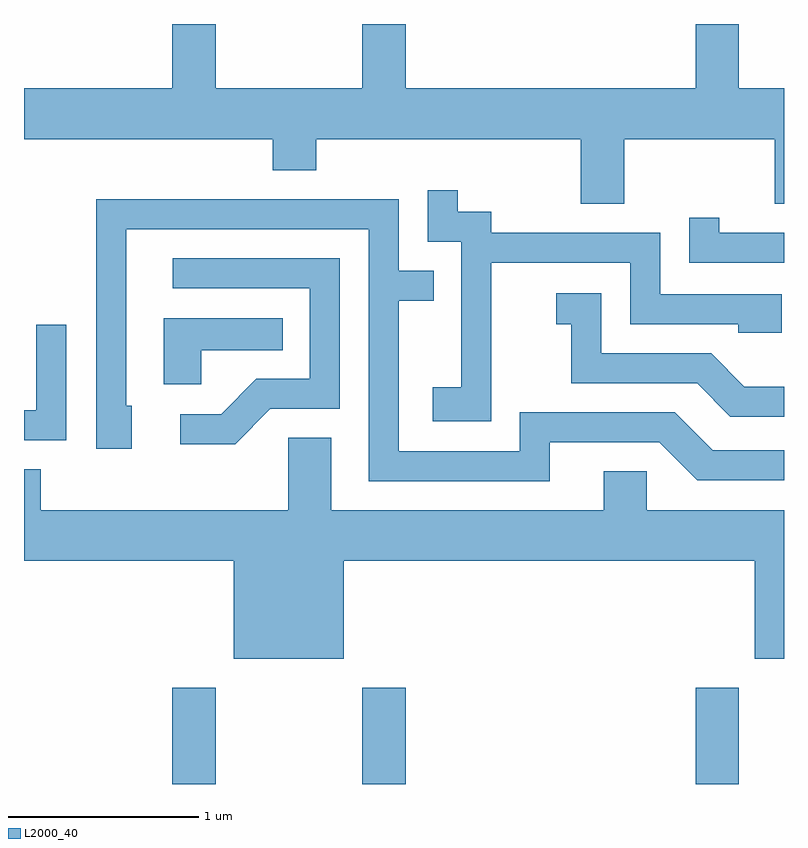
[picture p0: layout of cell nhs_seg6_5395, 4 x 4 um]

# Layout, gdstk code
import gdstk
lib = gdstk.Library(unit=1e-6, precision=1e-09)
def R(c, l, rs):  # rectangles x0, y0, x1, y1
    for r in rs: c.add(gdstk.rectangle(r[:2], r[2:], *l))
def P(c, l, *ps):  # polygons
    for p in ps: c.add(gdstk.Polygon(p, *l))
L2000_40 = (2000, 40)

nhs_seg6_5395 = lib.new_cell('nhs_seg6_5395')
R(nhs_seg6_5395, L2000_40, [(350.391,1582.162,350.619,1582.669), (351.391,1582.162,351.619,1582.669), (353.146,1582.162,353.374,1582.669)])
P(nhs_seg6_5395, L2000_40, [(352.769,1585.556),(353.561,1585.556),(353.561,1585.216),(353.611,1585.216),(353.611,1585.824),(353.374,1585.824),(353.374,1586.162),(353.146,1586.162),(353.146,1585.824),(351.619,1585.824),(351.619,1586.162),(351.391,1586.162),(351.391,1585.824),(350.619,1585.824),(350.619,1586.162),(350.391,1586.162),(350.391,1585.824),(349.611,1585.824),(349.611,1585.556),(350.921,1585.556),(350.921,1585.391),(351.149,1585.391),(351.149,1585.556),(352.541,1585.556),(352.541,1585.216),(352.769,1585.216)],
  [(352.069,1584.906),(352.801,1584.906),(352.801,1584.581),(353.371,1584.581),(353.371,1584.536),(353.599,1584.536),(353.599,1584.739),(352.959,1584.739),(352.959,1585.064),(352.069,1585.064),(352.069,1585.174),(351.894,1585.174),(351.894,1585.288),(351.736,1585.288),(351.736,1585.016),(351.911,1585.016),(351.911,1584.249),(351.761,1584.249),(351.761,1584.071),(352.069,1584.071)],
  [(352.379,1583.961),(352.954,1583.961),(353.154,1583.761),(353.611,1583.761),(353.611,1583.919),(353.237,1583.919),(353.037,1584.119),(352.221,1584.119),(352.221,1583.914),(351.584,1583.914),(351.584,1584.706),(351.768,1584.706),(351.768,1584.864),(351.584,1584.864),(351.584,1585.239),(349.991,1585.239),(349.991,1583.926),(350.179,1583.926),(350.179,1584.154),(350.149,1584.154),(350.149,1585.081),(351.426,1585.081),(351.426,1583.756),(352.379,1583.756)],
  [(353.611,1585.064),(353.269,1585.064),(353.269,1585.143),(353.111,1585.143),(353.111,1584.906),(353.611,1584.906)],
  [(350.907,1584.136),(351.274,1584.136),(351.274,1584.929),(350.393,1584.929),(350.393,1584.771),(351.116,1584.771),(351.116,1584.294),(350.834,1584.294),(350.649,1584.109),(350.433,1584.109),(350.433,1583.951),(350.722,1583.951)],
  [(353.611,1584.254),(353.402,1584.254),(353.227,1584.429),(352.649,1584.429),(352.649,1584.744),(352.413,1584.744),(352.413,1584.581),(352.491,1584.581),(352.491,1584.271),(353.154,1584.271),(353.329,1584.096),(353.611,1584.096)],
  [(350.544,1584.446),(350.973,1584.446),(350.973,1584.614),(350.346,1584.614),(350.346,1584.266),(350.544,1584.266)],
  [(349.834,1584.578),(349.676,1584.578),(349.676,1584.129),(349.611,1584.129),(349.611,1583.971),(349.834,1583.971)],
  [(351.294,1583.336),(353.456,1583.336),(353.456,1582.821),(353.611,1582.821),(353.611,1583.604),(352.889,1583.604),(352.889,1583.809),(352.661,1583.809),(352.661,1583.604),(351.229,1583.604),(351.229,1583.984),(351.001,1583.984),(351.001,1583.604),(349.699,1583.604),(349.699,1583.819),(349.611,1583.819),(349.611,1583.336),(350.716,1583.336),(350.716,1582.821),(351.294,1582.821)])

lib.write_gds('nhs_seg6_5395.gds')
